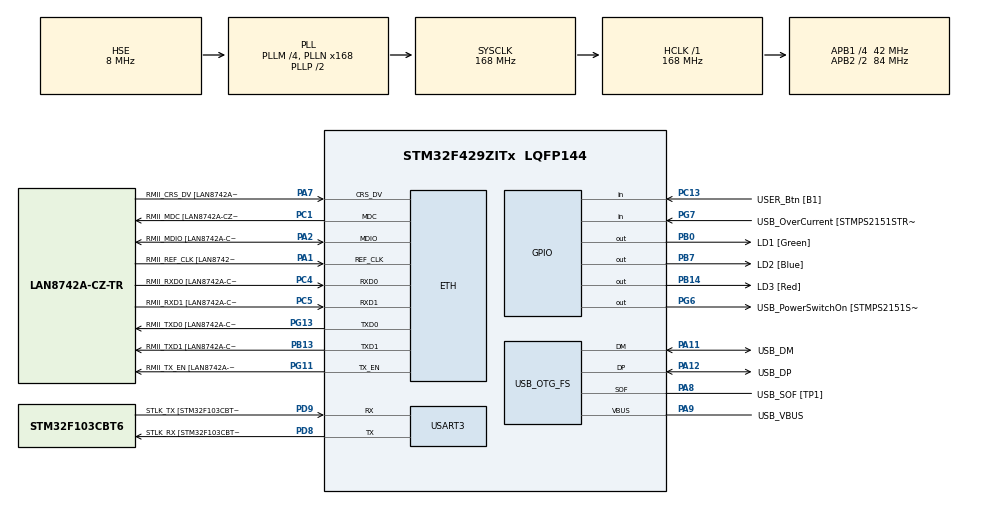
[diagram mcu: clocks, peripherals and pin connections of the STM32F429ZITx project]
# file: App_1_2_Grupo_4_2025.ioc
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ETH.MediaInterface=HAL_ETH_RMII_MODE
ETH.PHY_Name=LAN8742A_PHY_ADDRESS
ETH.PHY_Value=0
ETH.PhyAddress=0
Mcu.Family=STM32F4
Mcu.Name=STM32F429ZITx
Mcu.Package=LQFP144
NVIC.PriorityGroup=NVIC_PRIORITYGROUP_4
PA1.GPIO_Label=RMII_REF_CLK [LAN8742A-CZ-TR_REFCLK0]
PA1.Mode=RMII
PA1.Signal=ETH_REF_CLK
PA10.GPIO_Label=USB_ID
PA10.Signal=USB_OTG_FS_ID
PA11.GPIO_Label=USB_DM
PA11.Mode=Device_Only
PA11.Signal=USB_OTG_FS_DM
PA12.GPIO_Label=USB_DP
PA12.Mode=Device_Only
PA12.Signal=USB_OTG_FS_DP
PA13.GPIO_Label=TMS
PA13.Mode=Serial_Wire
PA13.Signal=SYS_JTMS-SWDIO
PA14.GPIO_Label=TCK
PA14.Mode=Serial_Wire
PA14.Signal=SYS_JTCK-SWCLK
PA2.GPIO_Label=RMII_MDIO [LAN8742A-CZ-TR_MDIO]
PA2.Mode=RMII
PA2.Signal=ETH_MDIO
PA7.GPIO_Label=RMII_CRS_DV [LAN8742A-CZ-TR_CRS_DV]
PA7.Mode=RMII
PA7.Signal=ETH_CRS_DV
PA8.GPIO_Label=USB_SOF [TP1]
PA8.Mode=Activate_SOF_FS
PA8.Signal=USB_OTG_FS_SOF
PA9.GPIO_Label=USB_VBUS
PA9.Mode=Activate_VBUS
PA9.Signal=USB_OTG_FS_VBUS
PB0.GPIO_Label=LD1 [Green]
PB0.Signal=GPIO_Output
PB13.GPIO_Label=RMII_TXD1 [LAN8742A-CZ-TR_TXD1]
PB13.Mode=RMII
PB13.Signal=ETH_TXD1
PB14.GPIO_Label=LD3 [Red]
PB14.Signal=GPIO_Output
PB7.GPIO_Label=LD2 [Blue]
PB7.Signal=GPIO_Output
PC1.GPIO_Label=RMII_MDC [LAN8742A-CZ-TR_MDC]
PC1.Mode=RMII
PC1.Signal=ETH_MDC
PC13.GPIO_Label=USER_Btn [B1]
PC13.GPIO_PuPd=GPIO_NOPULL
PC13.Signal=GPIO_Input
PC14/OSC32_IN.Mode=LSE-External-Oscillator
PC14/OSC32_IN.Signal=RCC_OSC32_IN
PC15/OSC32_OUT.Mode=LSE-External-Oscillator
PC15/OSC32_OUT.Signal=RCC_OSC32_OUT
PC4.GPIO_Label=RMII_RXD0 [LAN8742A-CZ-TR_RXD0]
PC4.Mode=RMII
PC4.Signal=ETH_RXD0
PC5.GPIO_Label=RMII_RXD1 [LAN8742A-CZ-TR_RXD1]
PC5.Mode=RMII
PC5.Signal=ETH_RXD1
PD8.GPIO_Label=STLK_RX [STM32F103CBT6_PA3]
PD8.Mode=Asynchronous
PD8.Signal=USART3_TX
PD9.GPIO_Label=STLK_TX [STM32F103CBT6_PA2]
PD9.Mode=Asynchronous
PD9.Signal=USART3_RX
PG11.GPIO_Label=RMII_TX_EN [LAN8742A-CZ-TR_TXEN]
PG11.Mode=RMII
PG11.Signal=ETH_TX_EN
PG13.GPIO_Label=RMII_TXD0 [LAN8742A-CZ-TR_TXD0]
PG13.Mode=RMII
PG13.Signal=ETH_TXD0
PG6.GPIO_Label=USB_PowerSwitchOn [STMPS2151STR_EN]
PG6.Signal=GPIO_Output
PG7.GPIO_Label=USB_OverCurrent [STMPS2151STR_FAULT]
PG7.Signal=GPIO_Input
PH0/OSC_IN.GPIO_Label=MCO [STM32F103CBT6_PA8]
PH0/OSC_IN.Mode=HSE-External-Clock-Source
PH0/OSC_IN.Signal=RCC_OSC_IN
PH1/OSC_OUT.Mode=HSE-External-Clock-Source
PH1/OSC_OUT.Signal=RCC_OSC_OUT
ProjectManager.HeapSize=0x200
ProjectManager.StackSize=0x400
ProjectManager.TargetToolchain=STM32CubeIDE
RCC.48MHZClocksFreq_Value=48000000
RCC.AHBFreq_Value=168000000
RCC.APB1CLKDivider=RCC_HCLK_DIV4
RCC.APB1Freq_Value=42000000
RCC.APB1TimFreq_Value=84000000
RCC.APB2CLKDivider=RCC_HCLK_DIV2
RCC.APB2Freq_Value=84000000
RCC.APB2TimCLKDivider=2
RCC.APB2TimFreq_Value=168000000
RCC.CortexFreq_Value=168000000
RCC.HCLKFreq_Value=168000000
RCC.HSE_VALUE=8000000
RCC.HSI_VALUE=16000000
RCC.PLLM=4
RCC.PLLMUL=RCC_PLL_MUL9
RCC.PLLN=168
RCC.PLLQ=7
RCC.PRESCALERUSB=RCC_USBCLKSOURCE_PLL_DIV1_5
RCC.SYSCLKFreq_VALUE=168000000
RCC.SYSCLKSource=RCC_SYSCLKSOURCE_PLLCLK
RCC.SYSCLKSourceVirtual=RCC_SYSCLKSOURCE_PLLCLK
RCC.USBFreq_Value=48000000
RCC.VCOOutputFreq_Value=336000000
USART3.VirtualMode=VM_ASYNC
USB_OTG_FS.VirtualMode=Device_Only
board=NUCLEO-F429ZI

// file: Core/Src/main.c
/* USER CODE BEGIN Header */
/**
  ******************************************************************************
  * @file           : main.c
  * @brief          : Main program body
  ******************************************************************************
  * @attention
  *
  * Copyright (c) 2025 STMicroelectronics.
  * All rights reserved.
  *
  * This software is licensed under terms that can be found in the LICENSE file
  * in the root directory of this software component.
  * If no LICENSE file comes with this software, it is provided AS-IS.
  *
  ******************************************************************************
  */
/* USER CODE END Header */
#include "main.h"
#include "string.h"
#include "API_GPIO.h"
#include "API_Delay.h"

/* USER CODE BEGIN PD */
#define LED1  ((led_t){LD1_GPIO_Port, LD1_Pin})
#define LED2  ((led_t){LD2_GPIO_Port, LD2_Pin})
#define LED3  ((led_t){LD3_GPIO_Port, LD3_Pin})
/* USER CODE END PD */

ETH_TxPacketConfig TxConfig;
ETH_DMADescTypeDef  DMARxDscrTab[ETH_RX_DESC_CNT]; /* Ethernet Rx DMA Descriptors */
ETH_DMADescTypeDef  DMATxDscrTab[ETH_TX_DESC_CNT]; /* Ethernet Tx DMA Descriptors */

ETH_HandleTypeDef heth;

UART_HandleTypeDef huart3;

PCD_HandleTypeDef hpcd_USB_OTG_FS;

/* USER CODE BEGIN PV */

// Vector de LEDs
led_t leds[] = { LED1, LED2, LED3 };

delay_t ledDelay;
/* USER CODE END PV */

void SystemClock_Config(void);
void MX_GPIO_Init(void);          //elimino static
static void MX_ETH_Init(void);
static void MX_USART3_UART_Init(void);
static void MX_USB_OTG_FS_PCD_Init(void);

int main(void)
{

  /* MCU Configuration--------------------------------------------------------*/

  /* Reset of all peripherals, Initializes the Flash interface and the Systick. */
  HAL_Init();

  /* Configure the system clock */
  SystemClock_Config();

  /* Initialize all configured peripherals */
  MX_GPIO_Init();
  MX_ETH_Init();
  MX_USART3_UART_Init();
  MX_USB_OTG_FS_PCD_Init();
  /* USER CODE BEGIN 2 */

  delayInit(&ledDelay, 200);
  int num_leds = sizeof(leds) / sizeof(leds[0]);
  int sentido = 1;
  int indiceLED = 0;
  bool ledOn = false;
  buttonStatus_t estadoAnterior = true;

  /* USER CODE END 2 */

  /* Infinite loop */
  while (1)
  {

    /* USER CODE BEGIN 3 */

	    buttonStatus_t estadoActual = readButton_GPIO();
	    if (estadoAnterior == true && estadoActual == false) {
	        sentido *= -1;
	    }
	    estadoAnterior = estadoActual;

	    /* --- MANEJO DE LEDs --- */
	    if (delayRead(&ledDelay)) {
	        if (!ledOn) {
	            writeLedOn_GPIO(leds[indiceLED]);
	            ledOn = true;
	            delayInit(&ledDelay, 200);
	        }
	        else {
	            writeLedOff_GPIO(leds[indiceLED]);
	            ledOn = false;

	            indiceLED += sentido;
	            if (indiceLED >= num_leds) indiceLED = 0;
	            else if (indiceLED < 0) indiceLED = num_leds - 1;

	            delayInit(&ledDelay, 200);
	        }
	    }

  }
  /* USER CODE END 3 */
}

void SystemClock_Config(void)
{
  RCC_OscInitTypeDef RCC_OscInitStruct = {0};
  RCC_ClkInitTypeDef RCC_ClkInitStruct = {0};

  /** Configure the main internal regulator output voltage
  */
  __HAL_RCC_PWR_CLK_ENABLE();
  __HAL_PWR_VOLTAGESCALING_CONFIG(PWR_REGULATOR_VOLTAGE_SCALE1);

  /** Initializes the RCC Oscillators according to the specified parameters
  * in the RCC_OscInitTypeDef structure.
  */
  RCC_OscInitStruct.OscillatorType = RCC_OSCILLATORTYPE_HSE;
  RCC_OscInitStruct.HSEState = RCC_HSE_BYPASS;
  RCC_OscInitStruct.PLL.PLLState = RCC_PLL_ON;
  RCC_OscInitStruct.PLL.PLLSource = RCC_PLLSOURCE_HSE;
  RCC_OscInitStruct.PLL.PLLM = 4;
  RCC_OscInitStruct.PLL.PLLN = 168;
  RCC_OscInitStruct.PLL.PLLP = RCC_PLLP_DIV2;
  RCC_OscInitStruct.PLL.PLLQ = 7;
  if (HAL_RCC_OscConfig(&RCC_OscInitStruct) != HAL_OK)
  {
    Error_Handler();
  }

  /** Initializes the CPU, AHB and APB buses clocks
  */
  RCC_ClkInitStruct.ClockType = RCC_CLOCKTYPE_HCLK|RCC_CLOCKTYPE_SYSCLK
                              |RCC_CLOCKTYPE_PCLK1|RCC_CLOCKTYPE_PCLK2;
  RCC_ClkInitStruct.SYSCLKSource = RCC_SYSCLKSOURCE_PLLCLK;
  RCC_ClkInitStruct.AHBCLKDivider = RCC_SYSCLK_DIV1;
  RCC_ClkInitStruct.APB1CLKDivider = RCC_HCLK_DIV4;
  RCC_ClkInitStruct.APB2CLKDivider = RCC_HCLK_DIV2;

  if (HAL_RCC_ClockConfig(&RCC_ClkInitStruct, FLASH_LATENCY_5) != HAL_OK)
  {
    Error_Handler();
  }
}

static void MX_ETH_Init(void)
{

   static uint8_t MACAddr[6];

  heth.Instance = ETH;
  MACAddr[0] = 0x00;
  MACAddr[1] = 0x80;
  MACAddr[2] = 0xE1;
  MACAddr[3] = 0x00;
  MACAddr[4] = 0x00;
  MACAddr[5] = 0x00;
  heth.Init.MACAddr = &MACAddr[0];
  heth.Init.MediaInterface = HAL_ETH_RMII_MODE;
  heth.Init.TxDesc = DMATxDscrTab;
  heth.Init.RxDesc = DMARxDscrTab;
  heth.Init.RxBuffLen = 1524;

  if (HAL_ETH_Init(&heth) != HAL_OK)
  {
    Error_Handler();
  }

  memset(&TxConfig, 0 , sizeof(ETH_TxPacketConfig));
  TxConfig.Attributes = ETH_TX_PACKETS_FEATURES_CSUM | ETH_TX_PACKETS_FEATURES_CRCPAD;
  TxConfig.ChecksumCtrl = ETH_CHECKSUM_IPHDR_PAYLOAD_INSERT_PHDR_CALC;
  TxConfig.CRCPadCtrl = ETH_CRC_PAD_INSERT;

}

static void MX_USART3_UART_Init(void)
{

  huart3.Instance = USART3;
  huart3.Init.BaudRate = 115200;
  huart3.Init.WordLength = UART_WORDLENGTH_8B;
  huart3.Init.StopBits = UART_STOPBITS_1;
  huart3.Init.Parity = UART_PARITY_NONE;
  huart3.Init.Mode = UART_MODE_TX_RX;
  huart3.Init.HwFlowCtl = UART_HWCONTROL_NONE;
  huart3.Init.OverSampling = UART_OVERSAMPLING_16;
  if (HAL_UART_Init(&huart3) != HAL_OK)
  {
    Error_Handler();
  }

}

static void MX_USB_OTG_FS_PCD_Init(void)
{

  hpcd_USB_OTG_FS.Instance = USB_OTG_FS;
  hpcd_USB_OTG_FS.Init.dev_endpoints = 4;
  hpcd_USB_OTG_FS.Init.speed = PCD_SPEED_FULL;
  hpcd_USB_OTG_FS.Init.dma_enable = DISABLE;
  hpcd_USB_OTG_FS.Init.phy_itface = PCD_PHY_EMBEDDED;
  hpcd_USB_OTG_FS.Init.Sof_enable = ENABLE;
  hpcd_USB_OTG_FS.Init.low_power_enable = DISABLE;
  hpcd_USB_OTG_FS.Init.lpm_enable = DISABLE;
  hpcd_USB_OTG_FS.Init.vbus_sensing_enable = ENABLE;
  hpcd_USB_OTG_FS.Init.use_dedicated_ep1 = DISABLE;
  if (HAL_PCD_Init(&hpcd_USB_OTG_FS) != HAL_OK)
  {
    Error_Handler();
  }

}

void Error_Handler(void)
{
  __disable_irq();
  while (1)
  {
  }
}
